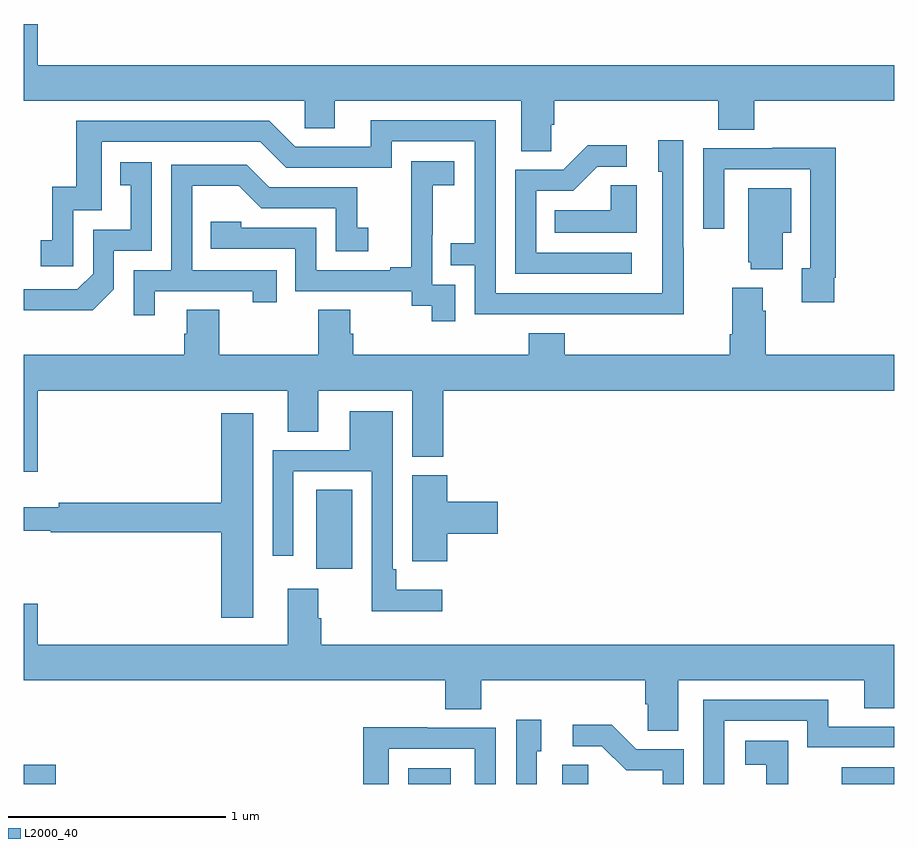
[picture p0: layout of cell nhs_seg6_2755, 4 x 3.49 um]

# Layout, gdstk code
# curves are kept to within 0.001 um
import gdstk
lib = gdstk.Library(unit=1e-6, precision=1e-09)
def R(c, l, rs):  # rectangles x0, y0, x1, y1
    for r in rs: c.add(gdstk.rectangle(r[:2], r[2:], *l))
def P(c, l, *ps):  # polygons
    for p in ps: c.add(gdstk.Polygon(p, *l))
L2000_40 = (2000, 40)

nhs_seg6_2755 = lib.new_cell('nhs_seg6_2755')
R(nhs_seg6_2755, L2000_40, [(273,973.5,273.146,973.588), (274.766,973.5,274.963,973.573), (275.474,973.5,275.595,973.589), (276.76,973.5,277,973.578), (274.343,974.49,274.51,974.852)])
P(nhs_seg6_2755, L2000_40, [(273.064,976.993),(273,976.993),(273,976.64),(274.29,976.64),(274.29,976.513),(274.429,976.513),(274.429,976.64),(275.285,976.64),(275.285,976.408),(275.424,976.408),(275.424,976.531),(275.438,976.531),(275.438,976.64),(276.191,976.64),(276.191,976.507),(276.356,976.507),(276.356,976.64),(277,976.64),(277,976.804),(273.064,976.804)],
  [(276.033,975.965),(276.03,975.965),(276.03,976.459),(275.915,976.459),(275.915,976.314),(275.934,976.314),(275.934,975.756),(275.169,975.756),(275.169,976.551),(274.595,976.551),(274.595,976.428),(274.248,976.428),(274.128,976.548),(273.241,976.548),(273.241,976.246),(273.131,976.246),(273.131,975.999),(273.078,975.999),(273.078,975.879),(273.228,975.879),(273.228,976.137),(273.357,976.137),(273.357,976.452),(274.086,976.452),(274.206,976.332),(274.692,976.332),(274.692,976.455),(275.073,976.455),(275.073,975.986),(274.963,975.986),(274.963,975.885),(275.073,975.885),(275.073,975.66),(276.033,975.659)],
  [(275.794,975.942),(275.355,975.942),(275.355,976.227),(275.524,976.227),(275.635,976.338),(275.77,976.338),(275.77,976.436),(275.591,976.436),(275.478,976.323),(275.259,976.323),(275.259,975.846),(275.794,975.846)],
  [(276.724,975.826),(276.731,975.826),(276.731,976.424),(276.439,976.424),(276.439,976.422),(276.123,976.422),(276.123,976.053),(276.219,976.053),(276.219,976.326),(276.615,976.326),(276.615,975.87),(276.575,975.87),(276.575,975.714),(276.724,975.714)],
  [(274.983,975.795),(274.878,975.795),(274.878,976.025),(274.88,976.025),(274.88,976.253),(274.978,976.253),(274.978,976.363),(274.78,976.363),(274.78,976.157),(274.781,976.157),(274.781,975.874),(274.685,975.874),(274.685,975.861),(274.344,975.861),(274.344,976.056),(273.999,976.056),(273.999,976.083),(273.859,976.083),(273.859,975.96),(274.248,975.96),(274.248,975.765),(274.782,975.765),(274.782,975.697),(274.875,975.697),(274.875,975.627),(274.983,975.627)],
  [(273.414,975.774),(273.414,975.951),(273.588,975.951),(273.588,976.357),(273.442,976.357),(273.442,976.251),(273.491,976.251),(273.491,976.047),(273.318,976.047),(273.318,975.846),(273.246,975.774),(273,975.774),(273,975.677),(273.316,975.677)],
  [(273.601,975.765),(274.052,975.765),(274.052,975.714),(274.163,975.714),(274.163,975.861),(273.774,975.861),(273.774,976.25),(273.988,976.25),(274.092,976.146),(274.434,976.146),(274.434,975.948),(274.582,975.948),(274.582,976.057),(274.533,976.057),(274.533,976.242),(274.129,976.242),(274.024,976.347),(273.678,976.347),(273.678,975.861),(273.504,975.861),(273.504,975.654),(273.601,975.654)],
  [(275.818,976.253),(275.697,976.253),(275.697,976.138),(275.44,976.138),(275.44,976.034),(275.818,976.034)],
  [(276.487,976.034),(276.526,976.034),(276.526,976.237),(276.329,976.237),(276.329,975.897),(276.341,975.897),(276.341,975.866),(276.487,975.866)],
  [(273.064,975.308),(274.214,975.308),(274.214,975.118),(274.354,975.118),(274.354,975.308),(274.784,975.308),(274.784,975.004),(274.928,975.004),(274.928,975.308),(277,975.308),(277,975.472),(276.41,975.472),(276.41,975.674),(276.397,975.674),(276.397,975.781),(276.257,975.781),(276.257,975.568),(276.245,975.568),(276.245,975.472),(275.486,975.472),(275.486,975.571),(275.321,975.571),(275.321,975.472),(274.514,975.472),(274.514,975.57),(274.501,975.57),(274.501,975.68),(274.354,975.68),(274.354,975.472),(273.897,975.472),(273.897,975.68),(273.749,975.68),(273.749,975.57),(273.737,975.57),(273.737,975.472),(273,975.472),(273,974.934),(273.064,974.934)],
  [(274.924,974.392),(274.711,974.392),(274.711,974.488),(274.695,974.488),(274.695,975.214),(274.499,975.214),(274.499,975.033),(274.143,975.033),(274.143,974.55),(274.239,974.55),(274.239,974.937),(274.599,974.937),(274.599,974.294),(274.924,974.294)],
  [(274.054,975.205),(273.908,975.205),(273.908,974.792),(273.16,974.792),(273.16,974.773),(273,974.773),(273,974.664),(273.124,974.664),(273.124,974.656),(273.908,974.656),(273.908,974.265),(274.054,974.265)],
  [(274.946,974.651),(275.179,974.651),(275.179,974.798),(274.946,974.798),(274.946,974.919),(274.784,974.919),(274.784,974.635),(274.785,974.635),(274.785,974.523),(274.946,974.523)],
  [(276.007,973.976),(276.863,973.976),(276.863,973.849),(277,973.849),(277,974.14),(274.367,974.14),(274.367,974.261),(274.354,974.261),(274.354,974.398),(274.214,974.398),(274.214,974.14),(273.064,974.14),(273.064,974.329),(273,974.329),(273,973.976),(274.937,973.976),(274.937,973.843),(275.102,973.843),(275.102,973.976),(275.855,973.976),(275.855,973.867),(275.868,973.867),(275.868,973.744),(276.007,973.744)],
  [(276.219,973.791),(276.6,973.791),(276.6,973.668),(277,973.668),(277,973.764),(276.697,973.764),(276.697,973.887),(276.123,973.887),(276.123,973.5),(276.219,973.5)],
  [(275.358,973.65),(275.377,973.65),(275.377,973.795),(275.262,973.795),(275.262,973.5),(275.358,973.5)],
  [(276.033,973.659),(275.814,973.659),(275.701,973.772),(275.523,973.772),(275.523,973.674),(275.657,973.674),(275.768,973.563),(275.937,973.563),(275.937,973.5),(276.033,973.5)],
  [(274.677,973.662),(275.073,973.662),(275.073,973.5),(275.169,973.5),(275.169,973.758),(274.853,973.758),(274.853,973.76),(274.561,973.76),(274.561,973.5),(274.677,973.5)],
  [(276.513,973.699),(276.315,973.699),(276.315,973.589),(276.413,973.589),(276.413,973.5),(276.513,973.5)])

lib.write_gds('nhs_seg6_2755.gds')
